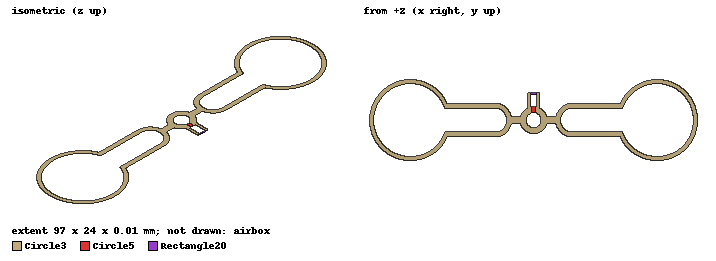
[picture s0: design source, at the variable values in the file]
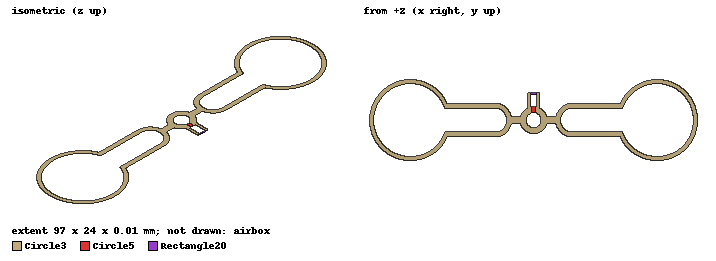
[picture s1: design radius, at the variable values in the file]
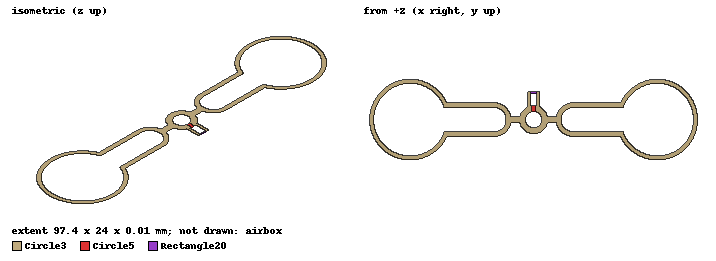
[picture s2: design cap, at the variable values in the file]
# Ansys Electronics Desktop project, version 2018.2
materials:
  vacuum: permittivity=1
  copper: permeability=0.999991 conductivity=58000000
  air: permittivity=1.0006 permeability=1.0000004

design source (HFSS, DrivenModal, model units mm)
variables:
  raidus = 4mm
  width = 1.8mm
  Cap = 1pF
  conLen = 5mm
  conWidth = width/2
  h2 = 50um  # 中间层厚度
  h1 = 10um  # 上环厚度
  l = 8cm
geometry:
  Circle3 [copper] = circle(normal=Z, centre=(0mm, 0mm, 0mm), radius=raidus)
  Circle4 = circle(normal=Z, centre=(0mm, 0mm, 0mm), radius=raidus - width)
  Circle3.subtract(Circle4)
  Circle7 = circle(normal=Z, centre=(0mm, 0mm, 0mm), radius=raidus)
  Circle8 = circle(normal=Z, centre=(0mm, 0mm, 0mm), radius=raidus - width)
  Circle7.subtract(Circle8)
  Rectangle11 = rectangle(corner=(0mm, -0.5mm, 0mm), x_size=11.5mm, y_size=1mm)
  Circle7.intersect(Rectangle11)
  Circle3.subtract(Circle7)
  Circle3.thicken(0.01mm)
  Circle3.rotate(axis=Z, angle=90deg)
  Circle5 = circle(normal=Z, centre=(0mm, 0mm, 0mm), radius=raidus)
  Circle6 = circle(normal=Z, centre=(0mm, 0mm, 0mm), radius=raidus - width)
  Circle5.subtract(Circle6)
  Rectangle10 = rectangle(corner=(0mm, -0.5mm, 0mm), x_size=11.5mm, y_size=1mm)
  Circle5.intersect(Rectangle10)
  Circle5.rotate(axis=Z, angle=90deg)
  Rectangle20 = rectangle(corner=(-1mm, 8mm, 0mm), x_size=2mm, y_size=-0.5mm)
  Rectangle20.move(0mm, raidus - 3.5mm, 0mm)
  Rectangle14 = rectangle(corner=(3mm, -1mm, 0mm), x_size=4mm, y_size=2mm)
  Rectangle16 = rectangle(corner=(11mm, 3.5355339mm, 0mm), x_size=17mm, y_size=1.4644661mm)
  Rectangle16_1 = Rectangle16.duplicate_mirror(point=(17mm, 0mm, 0mm), normal=(0mm, -1mm, 0mm))
  Circle9 = circle(normal=Z, centre=(11mm, 0mm, 0mm), radius=5mm)
  Circle10 = circle(normal=Z, centre=(11mm, 0mm, 0mm), radius=3.5355339mm)
  Circle9.subtract(Circle10)
  Rectangle15 = rectangle(corner=(11mm, -6mm, 0mm), x_size=7mm, y_size=13mm)
  Circle9.subtract(Rectangle15)
  Rectangle16.unite(Rectangle16_1, Circle9)
  Circle13 = circle(normal=Z, centre=(36mm, 0mm, 0mm), radius=10.77033mm)
  Rectangle16.subtract(Circle13)
  Circle11 = circle(normal=Z, centre=(36mm, 0mm, 0mm), radius=12mm)
  Circle12 = circle(normal=Z, centre=(36mm, 0mm, 0mm), radius=10.77033mm)
  Circle11.subtract(Circle12)
  Rectangle17 = rectangle(corner=(19.5mm, -3.5355339mm, 0mm), x_size=8.5mm, y_size=7.8033009mm)
  Circle11.subtract(Rectangle17)
  Rectangle14.unite(Rectangle16, Circle11)
  Rectangle14.thicken(0.01mm)
  Rectangle14_1 = Rectangle14.duplicate_mirror(point=(0mm, -8mm, 0mm), normal=(-1mm, 0mm, 0mm))
  Rectangle14.delete()
  Rectangle14_1.move(-raidus + 3.5mm, 0mm, 0mm)
  Rectangle14_1_1 = Rectangle14_1.duplicate_mirror(point=(0mm, 10mm, 0mm), normal=(1mm, 0mm, 0mm))
  Rectangle19 = rectangle(corner=(1mm, 2.5mm, 0mm), x_size=conWidth, y_size=conLen)
  Rectangle19.thicken(0.01mm)
  Rectangle19_1 = Rectangle19.duplicate_mirror(point=(0mm, 4.5mm, 0mm), normal=(-1mm, 0mm, 0mm))
  Rectangle19_1.unite(Rectangle19)
  Rectangle19_1.move(0mm, raidus - 3.5mm, 0mm)
  airbox [air] = cylinder(axis=Z, base_centre=(0mm, 0mm, -8.2cm), radius=8.2cm+l, height=h1+h2+16.4cm)
  Rectangle20.move(0mm, -0.5mm, 0mm)
  Circle3.unite(Rectangle14_1, Rectangle14_1_1, Rectangle19_1)
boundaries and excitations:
  Rad1: Radiation Objects=airbox
  LumpRLC1: Lumped RLC Objects=Rectangle20 CurrentLine{middle of Rectangle20.edge(x at corner) -> middle of Rectangle20.edge(x opposite corner)} Capacitance=cap
  1: Lumped Port Objects=Circle5 Modes{Mode1{IntLine{middle of Rectangle10.edge(y opposite corner) -> middle of Rectangle10.edge(y at corner)} CharImp=Zpi}} Impedance="(1.7152+59.65*1i) ohm"
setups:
  Setup1: HfssDriven Frequency=0.922GHz MaxDeltaS=0.02 MaximumPasses=6 MinimumPasses=1 MinimumConvergedPasses=1 PercentRefinement=30 BasisOrder=1 PortAccuracy=2
    sweep Sweep: 0.5GHz to 1.5GHz, 451 points; Type=Fast SaveFields
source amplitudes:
  1:1: 1W 0deg
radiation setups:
  Infinite Sphere1: Infinite Sphere Theta=0deg..180deg step 2deg Phi=0deg..360deg step 2deg
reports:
  Z Parameter Plot 1: re(Z(1,1)), im(Z(1,1)) vs Freq on Setup1 : Sweep; markers MX1 at x=9.2183623e+08
  Gain Plot 1: dB(GainTotal) vs Phi, Theta on Setup1 : LastAdaptive, Infinite Sphere1 [Freq=0.922GHz]

design radius (HFSS, DrivenModal, model units mm)
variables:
  raidus = 4mm
  width = 1.8mm
  Cap = 1pF
  conLen = 5mm
  conWidth = width/2
  h2 = 50um  # 中间层厚度
  h1 = 10um  # 上环厚度
  l = 8cm
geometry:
  Circle3 [copper] = circle(normal=Z, centre=(0mm, 0mm, 0mm), radius=raidus)
  Circle4 = circle(normal=Z, centre=(0mm, 0mm, 0mm), radius=raidus - width)
  Circle3.subtract(Circle4)
  Circle7 = circle(normal=Z, centre=(0mm, 0mm, 0mm), radius=raidus)
  Circle8 = circle(normal=Z, centre=(0mm, 0mm, 0mm), radius=raidus - width)
  Circle7.subtract(Circle8)
  Rectangle11 = rectangle(corner=(0mm, -0.5mm, 0mm), x_size=11.5mm, y_size=1mm)
  Circle7.intersect(Rectangle11)
  Circle3.subtract(Circle7)
  Circle3.thicken(0.01mm)
  Circle3.rotate(axis=Z, angle=90deg)
  Circle5 = circle(normal=Z, centre=(0mm, 0mm, 0mm), radius=raidus)
  Circle6 = circle(normal=Z, centre=(0mm, 0mm, 0mm), radius=raidus - width)
  Circle5.subtract(Circle6)
  Rectangle10 = rectangle(corner=(0mm, -0.5mm, 0mm), x_size=11.5mm, y_size=1mm)
  Circle5.intersect(Rectangle10)
  Circle5.rotate(axis=Z, angle=90deg)
  Rectangle20 = rectangle(corner=(-1mm, 8mm, 0mm), x_size=2mm, y_size=-0.5mm)
  Rectangle20.move(0mm, raidus - 3.5mm, 0mm)
  Rectangle14 = rectangle(corner=(3mm, -1mm, 0mm), x_size=4mm, y_size=2mm)
  Rectangle16 = rectangle(corner=(11mm, 3.5355339mm, 0mm), x_size=17mm, y_size=1.4644661mm)
  Rectangle16_1 = Rectangle16.duplicate_mirror(point=(17mm, 0mm, 0mm), normal=(0mm, -1mm, 0mm))
  Circle9 = circle(normal=Z, centre=(11mm, 0mm, 0mm), radius=5mm)
  Circle10 = circle(normal=Z, centre=(11mm, 0mm, 0mm), radius=3.5355339mm)
  Circle9.subtract(Circle10)
  Rectangle15 = rectangle(corner=(11mm, -6mm, 0mm), x_size=7mm, y_size=13mm)
  Circle9.subtract(Rectangle15)
  Rectangle16.unite(Rectangle16_1, Circle9)
  Circle13 = circle(normal=Z, centre=(36mm, 0mm, 0mm), radius=10.77033mm)
  Rectangle16.subtract(Circle13)
  Circle11 = circle(normal=Z, centre=(36mm, 0mm, 0mm), radius=12mm)
  Circle12 = circle(normal=Z, centre=(36mm, 0mm, 0mm), radius=10.77033mm)
  Circle11.subtract(Circle12)
  Rectangle17 = rectangle(corner=(19.5mm, -3.5355339mm, 0mm), x_size=8.5mm, y_size=7.8033009mm)
  Circle11.subtract(Rectangle17)
  Rectangle14.unite(Rectangle16, Circle11)
  Rectangle14.thicken(0.01mm)
  Rectangle14_1 = Rectangle14.duplicate_mirror(point=(0mm, -8mm, 0mm), normal=(-1mm, 0mm, 0mm))
  Rectangle14.delete()
  Rectangle14_1.move(-raidus + 3.5mm, 0mm, 0mm)
  Rectangle14_1_1 = Rectangle14_1.duplicate_mirror(point=(0mm, 10mm, 0mm), normal=(1mm, 0mm, 0mm))
  Rectangle19 = rectangle(corner=(1mm, 2.5mm, 0mm), x_size=conWidth, y_size=conLen)
  Rectangle19.thicken(0.01mm)
  Rectangle19_1 = Rectangle19.duplicate_mirror(point=(0mm, 4.5mm, 0mm), normal=(-1mm, 0mm, 0mm))
  Rectangle19_1.unite(Rectangle19)
  Rectangle19_1.move(0mm, raidus - 3.5mm, 0mm)
  airbox [air] = cylinder(axis=Z, base_centre=(0mm, 0mm, -8.2cm), radius=8.2cm+l, height=h1+h2+16.4cm)
  Rectangle20.move(0mm, -0.5mm, 0mm)
  Circle3.unite(Rectangle14_1, Rectangle14_1_1, Rectangle19_1)
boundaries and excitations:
  Rad1: Radiation Objects=airbox
  LumpRLC1: Lumped RLC Objects=Rectangle20 CurrentLine{middle of Rectangle20.edge(x at corner) -> middle of Rectangle20.edge(x opposite corner)} Capacitance=cap
  1: Lumped Port Objects=Circle5 Modes{Mode1{IntLine{middle of Rectangle10.edge(y opposite corner) -> middle of Rectangle10.edge(y at corner)} CharImp=Zpi}} Impedance="(1.7152+59.65*1i) ohm"
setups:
  Setup1: HfssDriven Frequency=0.922GHz MaxDeltaS=0.02 MaximumPasses=6 MinimumPasses=1 MinimumConvergedPasses=1 PercentRefinement=30 BasisOrder=1 PortAccuracy=2
    sweep Sweep: 0.5GHz to 1.5GHz, 451 points; Type=Fast SaveFields
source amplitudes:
  1:1: 1W 0deg
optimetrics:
  ParametricSetup1: Parametric Sim._Setups=[Setup1]
    sweep raidus: LIN 4mm 4.5mm 0.1mm
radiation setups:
  Infinite Sphere1: Infinite Sphere Theta=0deg..180deg step 2deg Phi=0deg..360deg step 2deg
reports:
  Gain Plot 1: dB(GainTotal) vs Phi, Theta on Setup1 : LastAdaptive, Infinite Sphere1 [Freq=0.922GHz]
  Z Parameter Plot 1: re(Z(1,1)), im(Z(1,1)) vs Freq on Setup1 : Sweep [raidus=all]; markers MX1 at x=9.1183801e+08

design cap (HFSS, DrivenModal, model units mm)
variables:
  raidus = 4.2mm
  width = 1.8mm
  Cap = 1pF
  conLen = 5mm
  conWidth = width/2
  h2 = 50um  # 中间层厚度
  h1 = 10um  # 上环厚度
  l = 8cm
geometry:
  Circle3 [copper] = circle(normal=Z, centre=(0mm, 0mm, 0mm), radius=raidus)
  Circle4 = circle(normal=Z, centre=(0mm, 0mm, 0mm), radius=raidus - width)
  Circle3.subtract(Circle4)
  Circle7 = circle(normal=Z, centre=(0mm, 0mm, 0mm), radius=raidus)
  Circle8 = circle(normal=Z, centre=(0mm, 0mm, 0mm), radius=raidus - width)
  Circle7.subtract(Circle8)
  Rectangle11 = rectangle(corner=(0mm, -0.5mm, 0mm), x_size=11.5mm, y_size=1mm)
  Circle7.intersect(Rectangle11)
  Circle3.subtract(Circle7)
  Circle3.thicken(0.01mm)
  Circle3.rotate(axis=Z, angle=90deg)
  Circle5 = circle(normal=Z, centre=(0mm, 0mm, 0mm), radius=raidus)
  Circle6 = circle(normal=Z, centre=(0mm, 0mm, 0mm), radius=raidus - width)
  Circle5.subtract(Circle6)
  Rectangle10 = rectangle(corner=(0mm, -0.5mm, 0mm), x_size=11.5mm, y_size=1mm)
  Circle5.intersect(Rectangle10)
  Circle5.rotate(axis=Z, angle=90deg)
  Rectangle20 = rectangle(corner=(-1mm, 8mm, 0mm), x_size=2mm, y_size=-0.5mm)
  Rectangle20.move(0mm, raidus - 3.5mm, 0mm)
  Rectangle14 = rectangle(corner=(3mm, -1mm, 0mm), x_size=4mm, y_size=2mm)
  Rectangle16 = rectangle(corner=(11mm, 3.5355339mm, 0mm), x_size=17mm, y_size=1.4644661mm)
  Rectangle16_1 = Rectangle16.duplicate_mirror(point=(17mm, 0mm, 0mm), normal=(0mm, -1mm, 0mm))
  Circle9 = circle(normal=Z, centre=(11mm, 0mm, 0mm), radius=5mm)
  Circle10 = circle(normal=Z, centre=(11mm, 0mm, 0mm), radius=3.5355339mm)
  Circle9.subtract(Circle10)
  Rectangle15 = rectangle(corner=(11mm, -6mm, 0mm), x_size=7mm, y_size=13mm)
  Circle9.subtract(Rectangle15)
  Rectangle16.unite(Rectangle16_1, Circle9)
  Circle13 = circle(normal=Z, centre=(36mm, 0mm, 0mm), radius=10.77033mm)
  Rectangle16.subtract(Circle13)
  Circle11 = circle(normal=Z, centre=(36mm, 0mm, 0mm), radius=12mm)
  Circle12 = circle(normal=Z, centre=(36mm, 0mm, 0mm), radius=10.77033mm)
  Circle11.subtract(Circle12)
  Rectangle17 = rectangle(corner=(19.5mm, -3.5355339mm, 0mm), x_size=8.5mm, y_size=7.8033009mm)
  Circle11.subtract(Rectangle17)
  Rectangle14.unite(Rectangle16, Circle11)
  Rectangle14.thicken(0.01mm)
  Rectangle14_1 = Rectangle14.duplicate_mirror(point=(0mm, -8mm, 0mm), normal=(-1mm, 0mm, 0mm))
  Rectangle14.delete()
  Rectangle14_1.move(-raidus + 3.5mm, 0mm, 0mm)
  Rectangle14_1_1 = Rectangle14_1.duplicate_mirror(point=(0mm, 10mm, 0mm), normal=(1mm, 0mm, 0mm))
  Rectangle19 = rectangle(corner=(1mm, 2.5mm, 0mm), x_size=conWidth, y_size=conLen)
  Rectangle19.thicken(0.01mm)
  Rectangle19_1 = Rectangle19.duplicate_mirror(point=(0mm, 4.5mm, 0mm), normal=(-1mm, 0mm, 0mm))
  Rectangle19_1.unite(Rectangle19)
  Rectangle19_1.move(0mm, raidus - 3.5mm, 0mm)
  airbox [air] = cylinder(axis=Z, base_centre=(0mm, 0mm, -8.2cm), radius=8.2cm+l, height=h1+h2+16.4cm)
  Rectangle20.move(0mm, -0.5mm, 0mm)
  Circle3.unite(Rectangle14_1, Rectangle14_1_1, Rectangle19_1)
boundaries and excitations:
  Rad1: Radiation Objects=airbox
  LumpRLC1: Lumped RLC Objects=Rectangle20 CurrentLine{middle of Rectangle20.edge(x at corner) -> middle of Rectangle20.edge(x opposite corner)} Capacitance=cap
  1: Lumped Port Objects=Circle5 Modes{Mode1{IntLine{middle of Rectangle10.edge(y opposite corner) -> middle of Rectangle10.edge(y at corner)} CharImp=Zpi}} Impedance="(1.7152+59.65*1i) ohm"
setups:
  Setup1: HfssDriven Frequency=0.922GHz MaxDeltaS=0.02 MaximumPasses=6 MinimumPasses=1 MinimumConvergedPasses=1 PercentRefinement=30 BasisOrder=1 PortAccuracy=2
    sweep Sweep: 0.5GHz to 1.5GHz, 451 points; Type=Fast SaveFields
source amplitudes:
  1:1: 1W 0deg
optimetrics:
  ParametricSetup1: Parametric Sim._Setups=[Setup1]
    sweep Cap: LIN 0.5pF 1.5pF 0.1pF
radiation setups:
  Infinite Sphere1: Infinite Sphere Theta=0deg..180deg step 2deg Phi=0deg..360deg step 2deg
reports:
  Gain Plot 1: dB(GainTotal) vs Phi, Theta on Setup1 : LastAdaptive, Infinite Sphere1 [Freq=0.922GHz]
  Z Parameter Plot 1: re(Z(1,1)), im(Z(1,1)) vs Freq on Setup1 : Sweep [Cap=all]; markers MX1 at x=9.211838e+08
